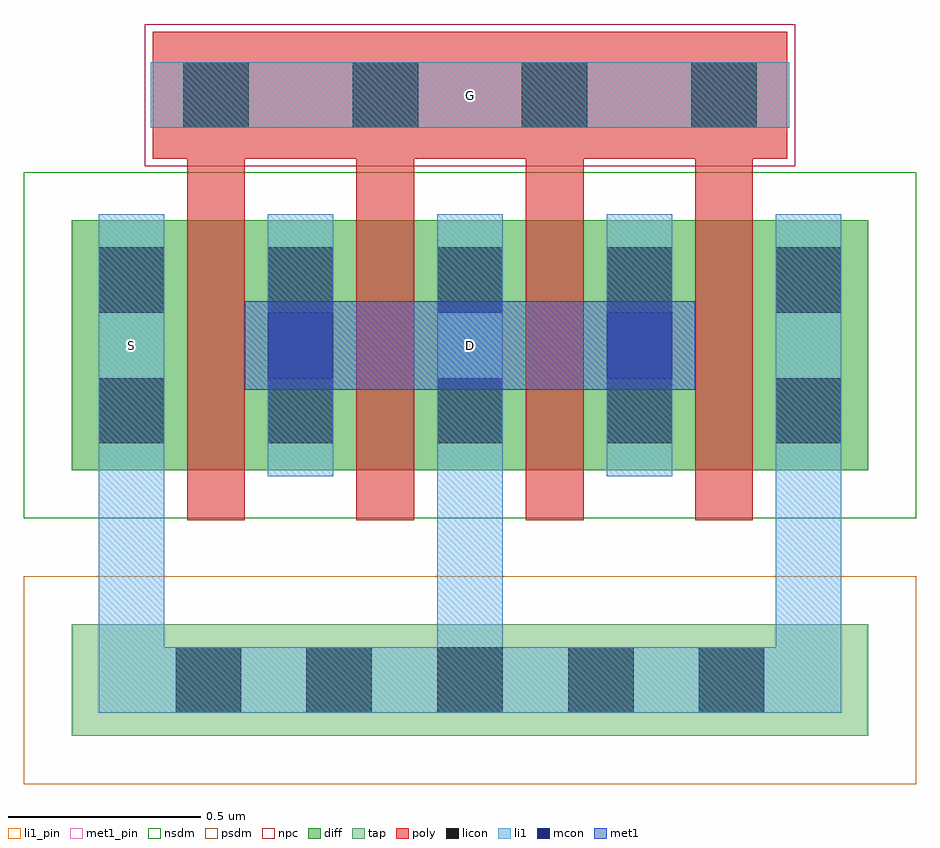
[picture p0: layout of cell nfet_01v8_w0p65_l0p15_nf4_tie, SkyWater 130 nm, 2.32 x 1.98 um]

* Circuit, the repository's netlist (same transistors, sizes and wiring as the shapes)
.SUBCKT nfet_01v8_w0p65_l0p15_nf4_tie D G S
M0 D G S S nfet_01v8 w=0.65 l=0.15
M1 D G S S nfet_01v8 w=0.65 l=0.15
M2 D G S S nfet_01v8 w=0.65 l=0.15
M3 D G S S nfet_01v8 w=0.65 l=0.15
.ENDS

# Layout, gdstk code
import gdstk
lib = gdstk.Library(unit=1e-6, precision=1e-09)
def R(c, l, rs):  # rectangles x0, y0, x1, y1
    for r in rs: c.add(gdstk.rectangle(r[:2], r[2:], *l))
def A(c, l, x, y, w, h, nx, ny, dx, dy):  # array of equal rectangles
    R(c, l, [(x+i*dx, y+j*dy, x+i*dx+w, y+j*dy+h) for i in range(nx) for j in range(ny)])
diff = (65, 20)
tap = (65, 44)
poly = (66, 20)
licon = (66, 44)
li1_pin = (67, 16)
li1 = (67, 20)
mcon = (67, 44)
met1_pin = (68, 16)
met1 = (68, 20)
nsdm = (93, 44)
psdm = (94, 20)
npc = (95, 20)

nfet_01v8_w0p65_l0p15_nf = lib.new_cell('nfet_01v8_w0p65_l0p15_nf4_tie')
R(nfet_01v8_w0p65_l0p15_nf, diff, [(0,0,2.07,0.65)])
R(nfet_01v8_w0p65_l0p15_nf, tap, [(0,-0.69,2.07,-0.4)])
A(nfet_01v8_w0p65_l0p15_nf, poly, 0.3, -0.13, 0.15, 0.94, 4, 1, 0.44, 0)
R(nfet_01v8_w0p65_l0p15_nf, poly, [(0.21,0.81,1.86,1.14)])
A(nfet_01v8_w0p65_l0p15_nf, licon, 0.27, -0.63, 0.17, 0.17, 5, 1, 0.34, 0)
A(nfet_01v8_w0p65_l0p15_nf, licon, 0.07, 0.07, 0.17, 0.17, 5, 2, 0.44, 0.34)
A(nfet_01v8_w0p65_l0p15_nf, licon, 0.29, 0.89, 0.17, 0.17, 4, 1, 0.44, 0)
R(nfet_01v8_w0p65_l0p15_nf, li1_pin, [(0.15,0.32,0.16,0.33), (1.03,0.97,1.04,0.98)])
A(nfet_01v8_w0p65_l0p15_nf, li1, 0.07, -0.63, 0.17, 1.295, 3, 1, 0.88, 0)
R(nfet_01v8_w0p65_l0p15_nf, li1, [(0.07,-0.63,2,-0.46), (0.51,-0.015,0.68,0.665), (1.39,-0.015,1.56,0.665), (0.205,0.89,1.865,1.06)])
R(nfet_01v8_w0p65_l0p15_nf, mcon, [(0.51,0.24,0.68,0.41), (1.39,0.24,1.56,0.41)])
R(nfet_01v8_w0p65_l0p15_nf, met1_pin, [(1.03,0.32,1.04,0.33)])
R(nfet_01v8_w0p65_l0p15_nf, met1, [(0.45,0.21,1.62,0.44)])
R(nfet_01v8_w0p65_l0p15_nf, nsdm, [(-0.125,-0.125,2.195,0.775)])
R(nfet_01v8_w0p65_l0p15_nf, psdm, [(-0.125,-0.815,2.195,-0.275)])
R(nfet_01v8_w0p65_l0p15_nf, npc, [(0.19,0.79,1.88,1.16)])
nfet_01v8_w0p65_l0p15_nf.add(gdstk.Label('G', (1.035,0.975), layer=67, texttype=5))
nfet_01v8_w0p65_l0p15_nf.add(gdstk.Label('S', (0.155,0.325), layer=67, texttype=5))
nfet_01v8_w0p65_l0p15_nf.add(gdstk.Label('D', (1.035,0.325), layer=68, texttype=5))

lib.write_gds('nfet_01v8_w0p65_l0p15_nf4_tie.gds')
